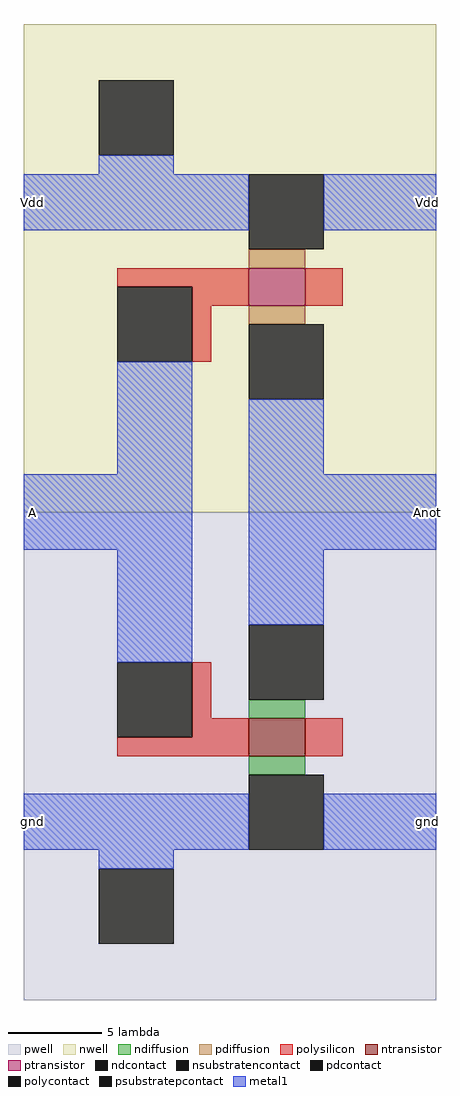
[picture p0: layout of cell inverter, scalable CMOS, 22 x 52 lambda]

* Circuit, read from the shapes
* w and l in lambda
.subckt inverter A Anot Vdd gnd
M1 Anot A gnd gnd nfet w=3 l=2
M2 Vdd A Anot Vdd pfet w=3 l=2
.ends

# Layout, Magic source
magic
tech scmos
<< nwell >>
rect -1 -7 21 19
<< pwell >>
rect -1 -33 21 -7
<< ntransistor >>
rect 11 -20 14 -18
<< ptransistor >>
rect 11 4 14 6
<< ndiffusion >>
rect 11 -18 14 -17
rect 11 -21 14 -20
<< pdiffusion >>
rect 11 6 14 7
rect 11 3 14 4
<< ndcontact >>
rect 11 -17 15 -13
rect 11 -25 15 -21
<< pdcontact >>
rect 11 7 15 11
rect 11 -1 15 3
<< psubstratepcontact >>
rect 3 -30 7 -26
<< nsubstratencontact >>
rect 3 12 7 16
<< polysilicon >>
rect 4 5 11 6
rect 8 4 11 5
rect 14 4 16 6
rect 8 1 9 4
rect 8 -18 9 -15
rect 8 -19 11 -18
rect 4 -20 11 -19
rect 14 -20 16 -18
<< polycontact >>
rect 4 1 8 5
rect 4 -19 8 -15
<< metal1 >>
rect 3 11 7 12
rect -1 8 11 11
rect 15 8 21 11
rect 4 -5 8 1
rect -1 -9 8 -5
rect 4 -15 8 -9
rect 11 -5 15 -1
rect 11 -9 21 -5
rect 11 -13 15 -9
rect -1 -25 11 -22
rect 15 -25 21 -22
rect 3 -26 7 -25
<< labels >>
rlabel metal1 -1 8 0 11 4 Vdd
rlabel metal1 -1 -25 0 -22 2 gnd
rlabel metal1 -1 -9 0 -5 3 A
rlabel metal1 20 8 21 11 7 Vdd
rlabel metal1 20 -9 21 -5 7 Anot
rlabel metal1 20 -25 21 -22 7 gnd
<< end >>
